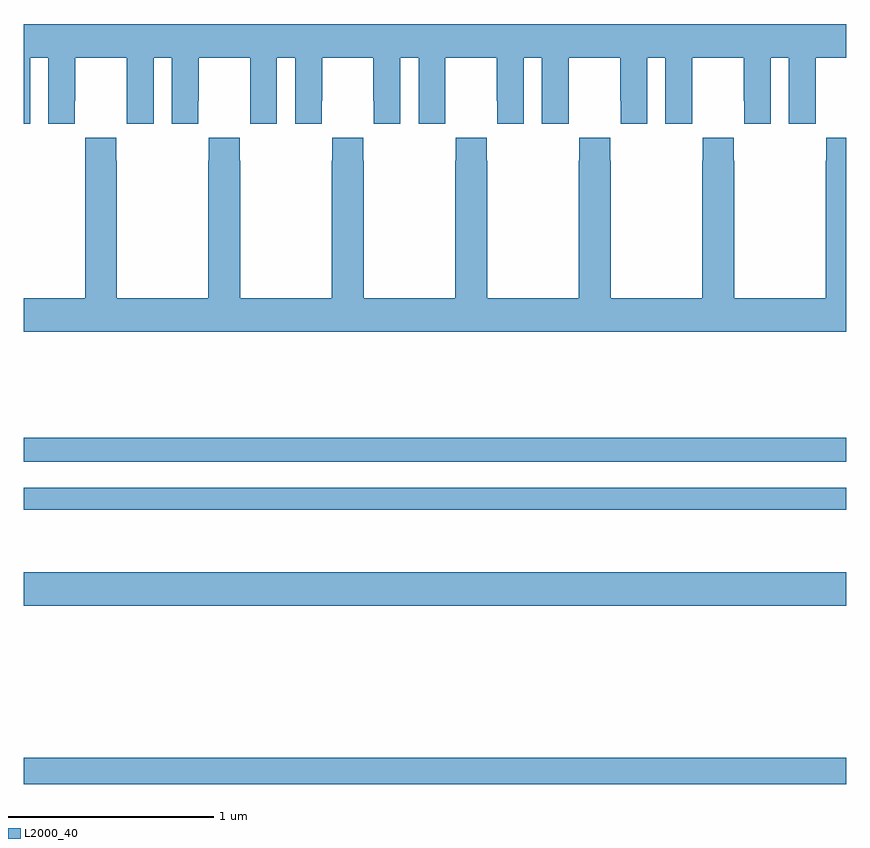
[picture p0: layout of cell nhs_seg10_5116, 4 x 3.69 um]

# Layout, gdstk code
import gdstk
lib = gdstk.Library(unit=1e-6, precision=1e-09)
def R(c, l, rs):  # rectangles x0, y0, x1, y1
    for r in rs: c.add(gdstk.rectangle(r[:2], r[2:], *l))
def P(c, l, *ps):  # polygons
    for p in ps: c.add(gdstk.Polygon(p, *l))
L2000_40 = (2000, 40)

nhs_seg10_5116 = lib.new_cell('nhs_seg10_5116')
R(nhs_seg10_5116, L2000_40, [(407,1316.766,411,1316.894), (407,1317.632,411,1317.796), (407,1318.098,411,1318.206), (407,1318.332,411,1318.448)])
P(nhs_seg10_5116, L2000_40, [(407.032,1320.296),(407.12,1320.296),(407.12,1319.976),(407.25,1319.976),(407.25,1320.088),(407.251,1320.088),(407.251,1320.296),(407.501,1320.296),(407.501,1320.088),(407.502,1320.088),(407.502,1319.976),(407.632,1319.976),(407.632,1320.296),(407.72,1320.296),(407.72,1319.976),(407.85,1319.976),(407.85,1320.088),(407.851,1320.088),(407.851,1320.296),(408.101,1320.296),(408.101,1320.088),(408.102,1320.088),(408.102,1319.976),(408.232,1319.976),(408.232,1320.296),(408.32,1320.296),(408.32,1319.976),(408.45,1319.976),(408.45,1320.088),(408.451,1320.088),(408.451,1320.296),(408.701,1320.296),(408.701,1320.088),(408.702,1320.088),(408.702,1319.976),(408.832,1319.976),(408.832,1320.296),(408.92,1320.296),(408.92,1319.976),(409.05,1319.976),(409.05,1320.088),(409.051,1320.088),(409.051,1320.296),(409.301,1320.296),(409.301,1320.088),(409.302,1320.088),(409.302,1319.976),(409.432,1319.976),(409.432,1320.296),(409.52,1320.296),(409.52,1319.976),(409.65,1319.976),(409.65,1320.088),(409.651,1320.088),(409.651,1320.296),(409.901,1320.296),(409.901,1320.088),(409.902,1320.088),(409.902,1319.976),(410.032,1319.976),(410.032,1320.296),(410.12,1320.296),(410.12,1319.976),(410.25,1319.976),(410.25,1320.088),(410.251,1320.088),(410.251,1320.296),(410.501,1320.296),(410.501,1320.088),(410.502,1320.088),(410.502,1319.976),(410.632,1319.976),(410.632,1320.296),(410.72,1320.296),(410.72,1319.976),(410.85,1319.976),(410.85,1320.088),(410.851,1320.088),(410.851,1320.296),(411,1320.296),(411,1320.46),(407,1320.46),(407,1319.976),(407.032,1319.976)],
  [(411,1319.908),(410.901,1319.908),(410.901,1319.795),(410.899,1319.795),(410.899,1319.128),(410.454,1319.128),(410.454,1319.795),(410.451,1319.795),(410.451,1319.908),(410.301,1319.908),(410.301,1319.795),(410.299,1319.795),(410.299,1319.128),(409.854,1319.128),(409.854,1319.795),(409.851,1319.795),(409.851,1319.908),(409.701,1319.908),(409.701,1319.795),(409.699,1319.795),(409.699,1319.128),(409.254,1319.128),(409.254,1319.795),(409.251,1319.795),(409.251,1319.908),(409.101,1319.908),(409.101,1319.795),(409.099,1319.795),(409.099,1319.128),(408.654,1319.128),(408.654,1319.795),(408.651,1319.795),(408.651,1319.908),(408.501,1319.908),(408.501,1319.795),(408.499,1319.795),(408.499,1319.128),(408.054,1319.128),(408.054,1319.795),(408.051,1319.795),(408.051,1319.908),(407.901,1319.908),(407.901,1319.795),(407.899,1319.795),(407.899,1319.128),(407.454,1319.128),(407.454,1319.795),(407.451,1319.795),(407.451,1319.908),(407.301,1319.908),(407.301,1319.795),(407.299,1319.795),(407.299,1319.128),(407,1319.128),(407,1318.964),(411,1318.964)])

lib.write_gds('nhs_seg10_5116.gds')
